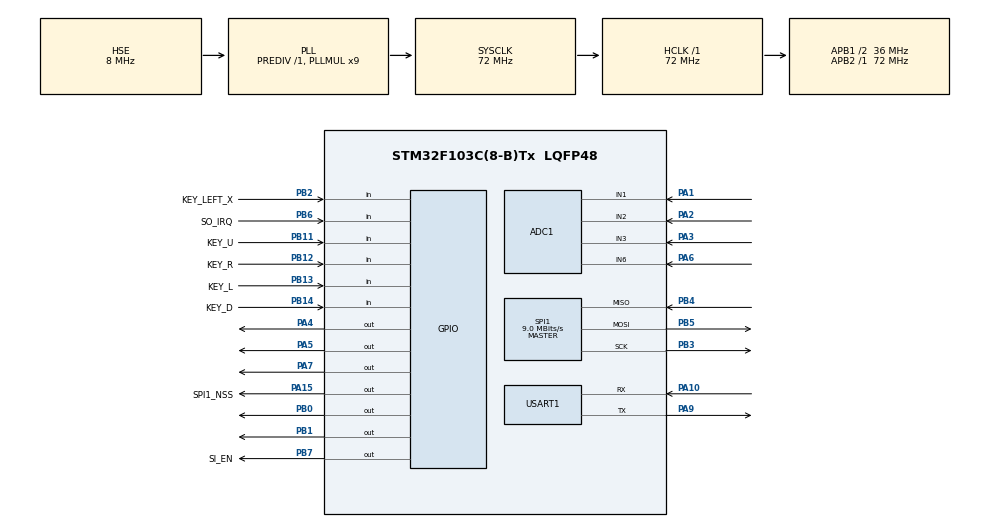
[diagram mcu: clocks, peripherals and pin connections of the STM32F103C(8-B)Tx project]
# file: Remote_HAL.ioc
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ADC1.Channel-0\#ChannelRegularConversion=ADC_CHANNEL_6
ADC1.Channel-1\#ChannelRegularConversion=ADC_CHANNEL_1
ADC1.Channel-2\#ChannelRegularConversion=ADC_CHANNEL_3
ADC1.Channel-3\#ChannelRegularConversion=ADC_CHANNEL_2
ADC1.ContinuousConvMode=ENABLE
ADC1.NbrOfConversion=4
ADC1.NbrOfConversionFlag=1
ADC1.Rank-0\#ChannelRegularConversion=1
ADC1.Rank-1\#ChannelRegularConversion=2
ADC1.Rank-2\#ChannelRegularConversion=3
ADC1.Rank-3\#ChannelRegularConversion=4
ADC1.SamplingTime-0\#ChannelRegularConversion=ADC_SAMPLETIME_7CYCLES_5
ADC1.SamplingTime-1\#ChannelRegularConversion=ADC_SAMPLETIME_7CYCLES_5
ADC1.SamplingTime-2\#ChannelRegularConversion=ADC_SAMPLETIME_7CYCLES_5
ADC1.SamplingTime-3\#ChannelRegularConversion=ADC_SAMPLETIME_7CYCLES_5
ADC1.master=1
Dma.ADC1.0.Direction=DMA_PERIPH_TO_MEMORY
Dma.ADC1.0.Instance=DMA1_Channel1
Dma.ADC1.0.MemDataAlignment=DMA_MDATAALIGN_HALFWORD
Dma.ADC1.0.MemInc=DMA_MINC_ENABLE
Dma.ADC1.0.Mode=DMA_CIRCULAR
Dma.ADC1.0.PeriphDataAlignment=DMA_PDATAALIGN_HALFWORD
Dma.ADC1.0.PeriphInc=DMA_PINC_DISABLE
Dma.ADC1.0.Priority=DMA_PRIORITY_HIGH
Dma.Request0=ADC1
Mcu.Family=STM32F1
Mcu.Name=STM32F103C(8-B)Tx
Mcu.Package=LQFP48
NVIC.DMA1_Channel1_IRQn=true\:0\:0\:false\:false\:true\:false\:true\:true
NVIC.PriorityGroup=NVIC_PRIORITYGROUP_4
PA1.Signal=ADCx_IN1
PA10.Mode=Asynchronous
PA10.Signal=USART1_RX
PA13.Mode=Serial_Wire
PA13.Signal=SYS_JTMS-SWDIO
PA14.Mode=Serial_Wire
PA14.Signal=SYS_JTCK-SWCLK
PA15.GPIO_Label=SPI1_NSS
PA15.GPIO_Speed=GPIO_SPEED_FREQ_HIGH
PA15.PinState=GPIO_PIN_SET
PA15.Signal=GPIO_Output
PA2.Signal=ADCx_IN2
PA3.Signal=ADCx_IN3
PA4.GPIO_Speed=GPIO_SPEED_FREQ_HIGH
PA4.PinState=GPIO_PIN_SET
PA4.Signal=GPIO_Output
PA5.GPIO_Speed=GPIO_SPEED_FREQ_HIGH
PA5.PinState=GPIO_PIN_SET
PA5.Signal=GPIO_Output
PA6.Signal=ADCx_IN6
PA7.GPIO_Speed=GPIO_SPEED_FREQ_HIGH
PA7.PinState=GPIO_PIN_SET
PA7.Signal=GPIO_Output
PA9.Mode=Asynchronous
PA9.Signal=USART1_TX
PB0.GPIO_Speed=GPIO_SPEED_FREQ_HIGH
PB0.PinState=GPIO_PIN_SET
PB0.Signal=GPIO_Output
PB1.GPIO_Speed=GPIO_SPEED_FREQ_HIGH
PB1.PinState=GPIO_PIN_SET
PB1.Signal=GPIO_Output
PB11.GPIO_Label=KEY_U
PB11.GPIO_PuPd=GPIO_PULLUP
PB11.Signal=GPIO_Input
PB12.GPIO_Label=KEY_R
PB12.GPIO_PuPd=GPIO_PULLUP
PB12.Signal=GPIO_Input
PB13.GPIO_Label=KEY_L
PB13.GPIO_PuPd=GPIO_PULLUP
PB13.Signal=GPIO_Input
PB14.GPIO_Label=KEY_D
PB14.GPIO_PuPd=GPIO_PULLUP
PB14.Signal=GPIO_Input
PB2.GPIO_Label=KEY_LEFT_X
PB2.GPIO_PuPd=GPIO_PULLUP
PB2.Signal=GPIO_Input
PB3.Mode=Full_Duplex_Master
PB3.Signal=SPI1_SCK
PB4.Mode=Full_Duplex_Master
PB4.Signal=SPI1_MISO
PB5.Mode=Full_Duplex_Master
PB5.Signal=SPI1_MOSI
PB6.GPIO_Label=SO_IRQ
PB6.Signal=GPIO_Input
PB7.GPIO_Label=SI_EN
PB7.GPIO_Speed=GPIO_SPEED_FREQ_HIGH
PB7.PinState=GPIO_PIN_SET
PB7.Signal=GPIO_Output
PC14-OSC32_IN.Mode=LSE-External-Oscillator
PC14-OSC32_IN.Signal=RCC_OSC32_IN
PC15-OSC32_OUT.Mode=LSE-External-Oscillator
PC15-OSC32_OUT.Signal=RCC_OSC32_OUT
PD0-OSC_IN.Mode=HSE-External-Oscillator
PD0-OSC_IN.Signal=RCC_OSC_IN
PD1-OSC_OUT.Mode=HSE-External-Oscillator
PD1-OSC_OUT.Signal=RCC_OSC_OUT
ProjectManager.HeapSize=0x200
ProjectManager.StackSize=0x400
ProjectManager.TargetToolchain=MDK-ARM V5.32
RCC.ADCPresc=RCC_ADCPCLK2_DIV6
RCC.AHBFreq_Value=72000000
RCC.APB1CLKDivider=RCC_HCLK_DIV2
RCC.APB1Freq_Value=36000000
RCC.APB1TimFreq_Value=72000000
RCC.APB2Freq_Value=72000000
RCC.APB2TimFreq_Value=72000000
RCC.HCLKFreq_Value=72000000
RCC.PLLMUL=RCC_PLL_MUL9
RCC.PLLSourceVirtual=RCC_PLLSOURCE_HSE
RCC.SYSCLKFreq_VALUE=72000000
RCC.SYSCLKSource=RCC_SYSCLKSOURCE_PLLCLK
RCC.USBFreq_Value=72000000
SH.ADCx_IN1.0=ADC1_IN1,IN1
SH.ADCx_IN2.0=ADC1_IN2,IN2
SH.ADCx_IN3.0=ADC1_IN3,IN3
SH.ADCx_IN6.0=ADC1_IN6,IN6
SPI1.BaudRatePrescaler=SPI_BAUDRATEPRESCALER_8
SPI1.CalculateBaudRate=9.0 MBits/s
SPI1.Direction=SPI_DIRECTION_2LINES
SPI1.Mode=SPI_MODE_MASTER
SPI1.VirtualType=VM_MASTER
USART1.VirtualMode=VM_ASYNC
board=custom

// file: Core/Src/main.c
/* USER CODE BEGIN Header */
/**
  ******************************************************************************
  * @file           : main.c
  * @brief          : Main program body
  ******************************************************************************
  * @attention
  *
  * Copyright (c) 2025 STMicroelectronics.
  * All rights reserved.
  *
  * This software is licensed under terms that can be found in the LICENSE file
  * in the root directory of this software component.
  * If no LICENSE file comes with this software, it is provided AS-IS.
  *
  ******************************************************************************
  */
/* USER CODE END Header */
#include "main.h"
#include "adc.h"
#include "dma.h"
#include "spi.h"
#include "usart.h"
#include "gpio.h"

/* USER CODE BEGIN Includes */
#include "NRF24L01.h"
#include "App_Remote.h"
#include "App_Task.h"
#include "oled.h"
#include "show.h"
/* USER CODE END Includes */

/* USER CODE BEGIN PV */
uint16_t ADC_Value[4];
/* USER CODE END PV */

void SystemClock_Config(void);

int main(void)
{

  /* MCU Configuration--------------------------------------------------------*/

  /* Reset of all peripherals, Initializes the Flash interface and the Systick. */
  HAL_Init();

  /* Configure the system clock */
  SystemClock_Config();

  /* Initialize all configured peripherals */
  MX_GPIO_Init();
  MX_DMA_Init();
  MX_SPI1_Init();
  MX_USART1_UART_Init();
  MX_ADC1_Init();
  /* USER CODE BEGIN 2 */

  // 开启摇杆采集的ADC, 将遥感数据存到ADC_Value中
  HAL_ADC_Start_DMA(&hadc1, (uint32_t *)ADC_Value, 4);

  printf("自检开始...\r\n");
  while(NRF24L01_Check());
  printf("自检成功...\r\n");
  NRF24L01_TX_Mode();
  printf("发送模式已开启...\r\n");
  OLED_Init();
  FreeRTOS_Start();
  /* USER CODE END 2 */

  /* Infinite loop */
  /* USER CODE BEGIN WHILE */
  uint8_t tx_buff[28] = {0};

  while (1)
  {
//	  App_Remote_Stick_Scan(); // 对摇杆数据进行处理并存放到摇杆数据结构体rc中
//	  App_Remote_KeyPress(); // 检测校准按键（左上）
//	  App_Remote_Data(tx_buff); // 将摇杆数据存放到tx_buff中，并组装完整的数据帧，准备发送到飞机主控
//	  printf("发送数据...\r\n");
//      NRF24L01_TxPacket(tx_buff);

//	  printf("发送的值：\r\n");
//	  printf("左摇杆上下：%d\r\n", rc.THR);
//	  printf("左摇杆左右：%d\r\n", rc.YAW);
//	  printf("右摇杆上下：%d\r\n", rc.PIT);
//	  printf("右摇杆左右：%d\r\n\r\n", rc.ROL);
//	  HAL_Delay(100);
    /* USER CODE END WHILE */

  }
}

void SystemClock_Config(void)
{
  RCC_OscInitTypeDef RCC_OscInitStruct = {0};
  RCC_ClkInitTypeDef RCC_ClkInitStruct = {0};
  RCC_PeriphCLKInitTypeDef PeriphClkInit = {0};

  /** Initializes the RCC Oscillators according to the specified parameters
  * in the RCC_OscInitTypeDef structure.
  */
  RCC_OscInitStruct.OscillatorType = RCC_OSCILLATORTYPE_HSE;
  RCC_OscInitStruct.HSEState = RCC_HSE_ON;
  RCC_OscInitStruct.HSEPredivValue = RCC_HSE_PREDIV_DIV1;
  RCC_OscInitStruct.HSIState = RCC_HSI_ON;
  RCC_OscInitStruct.PLL.PLLState = RCC_PLL_ON;
  RCC_OscInitStruct.PLL.PLLSource = RCC_PLLSOURCE_HSE;
  RCC_OscInitStruct.PLL.PLLMUL = RCC_PLL_MUL9;
  if (HAL_RCC_OscConfig(&RCC_OscInitStruct) != HAL_OK)
  {
    Error_Handler();
  }

  /** Initializes the CPU, AHB and APB buses clocks
  */
  RCC_ClkInitStruct.ClockType = RCC_CLOCKTYPE_HCLK|RCC_CLOCKTYPE_SYSCLK
                              |RCC_CLOCKTYPE_PCLK1|RCC_CLOCKTYPE_PCLK2;
  RCC_ClkInitStruct.SYSCLKSource = RCC_SYSCLKSOURCE_PLLCLK;
  RCC_ClkInitStruct.AHBCLKDivider = RCC_SYSCLK_DIV1;
  RCC_ClkInitStruct.APB1CLKDivider = RCC_HCLK_DIV2;
  RCC_ClkInitStruct.APB2CLKDivider = RCC_HCLK_DIV1;

  if (HAL_RCC_ClockConfig(&RCC_ClkInitStruct, FLASH_LATENCY_2) != HAL_OK)
  {
    Error_Handler();
  }
  PeriphClkInit.PeriphClockSelection = RCC_PERIPHCLK_ADC;
  PeriphClkInit.AdcClockSelection = RCC_ADCPCLK2_DIV6;
  if (HAL_RCCEx_PeriphCLKConfig(&PeriphClkInit) != HAL_OK)
  {
    Error_Handler();
  }
}

void Error_Handler(void)
{
  __disable_irq();
  while (1)
  {
  }
}
